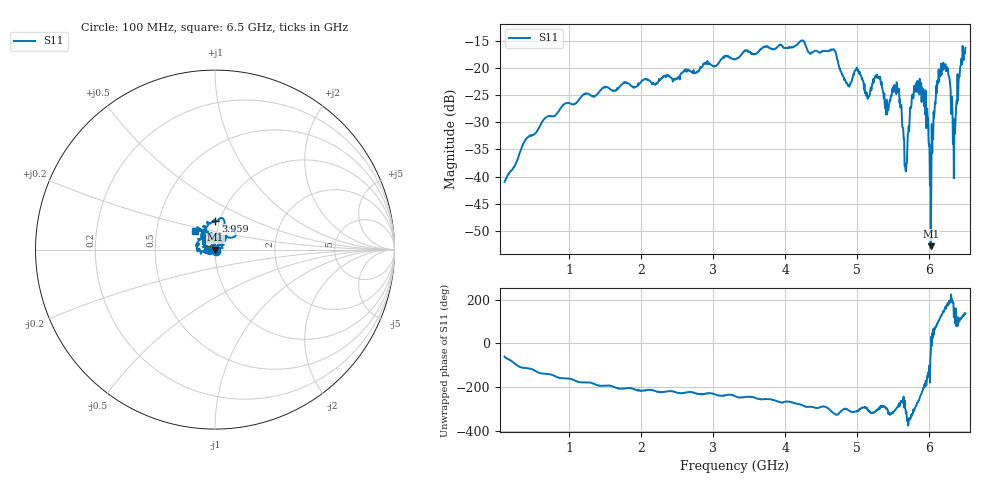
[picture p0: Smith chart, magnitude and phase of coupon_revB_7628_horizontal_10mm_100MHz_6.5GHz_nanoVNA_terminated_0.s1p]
! NanoVNA-App
! Date: 2026-11-01 18:35:40
! Start: 100MHz Stop: 6,5GHz Points: 1001
! S-Parameter data: F S11
# Hz S RI R 50
!  Frequency  S11_Real  S11_Imag
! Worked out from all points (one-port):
!   1001 points, 100 MHz to 6.5 GHz, reference 50 ohm
!   lowest |S11| = -52.8 dB at 6.02 GHz (marker M1), VSWR 1.00, Z = 50.2 - j0.127 ohm
!   |S11| at or under -10 dB: start of sweep to end of sweep
!   S11 on the Smith chart (normalised r, x): 100 MHz: 1.01, -0.02; 3.959 GHz: 0.95, +0.31; 6.5 GHz: 0.78, +0.17
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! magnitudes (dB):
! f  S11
! 100 MHz  -41.0
! 400.8 MHz  -33.1
! 900 MHz  -27.0
! 1.7 GHz  -23.4
! 2.5 GHz  -22.0
! 3.3 GHz  -18.3
! 3.959 GHz  -16.0
! 4.1 GHz  -16.2
! 4.663 GHz  -16.6
! 4.9 GHz  -23.0
! 5.002 GHz  -20.3
! 5.143 GHz  -25.7
! 5.284 GHz  -21.8
! 5.412 GHz  -28.5
! 5.546 GHz  -22.6
! 5.604 GHz  -26.8
! 5.655 GHz  -38.0
! 5.7 GHz  -32.3
! 5.764 GHz  -25.5
! 5.854 GHz  -23.0
! 5.95 GHz  -24.1
! 6.02 GHz  -52.8
! 6.09 GHz  -25.1
! 6.161 GHz  -19.2
! 6.25 GHz  -20.3
! 6.353 GHz  -32.2
! 6.436 GHz  -19.5
! 6.5 GHz  -16.3
